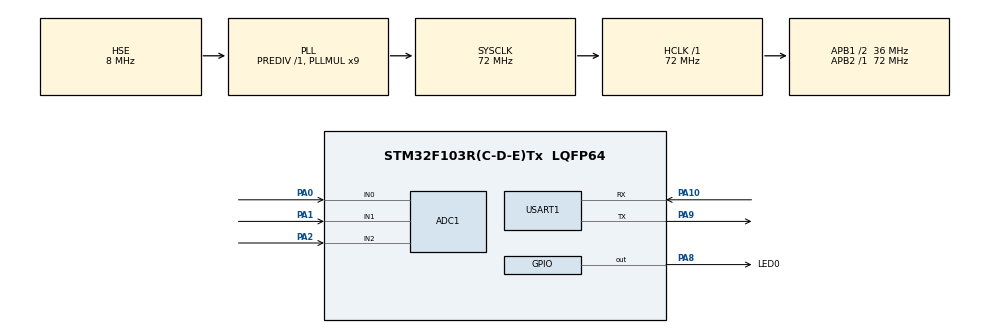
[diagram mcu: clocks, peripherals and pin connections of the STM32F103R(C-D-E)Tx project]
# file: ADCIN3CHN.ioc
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ADC1.Channel-0\#ChannelRegularConversion=ADC_CHANNEL_0
ADC1.Channel-5\#ChannelRegularConversion=ADC_CHANNEL_1
ADC1.Channel-6\#ChannelRegularConversion=ADC_CHANNEL_2
ADC1.ContinuousConvMode=DISABLE
ADC1.DiscontinuousConvMode=DISABLE
ADC1.ExternalTrigConv=ADC_EXTERNALTRIGCONV_T3_TRGO
ADC1.NbrOfConversion=3
ADC1.NbrOfConversionFlag=1
ADC1.Rank-0\#ChannelRegularConversion=1
ADC1.Rank-5\#ChannelRegularConversion=2
ADC1.Rank-6\#ChannelRegularConversion=3
ADC1.SamplingTime-0\#ChannelRegularConversion=ADC_SAMPLETIME_1CYCLE_5
ADC1.SamplingTime-5\#ChannelRegularConversion=ADC_SAMPLETIME_1CYCLE_5
ADC1.SamplingTime-6\#ChannelRegularConversion=ADC_SAMPLETIME_1CYCLE_5
ADC1.master=1
Dma.ADC1.0.Direction=DMA_PERIPH_TO_MEMORY
Dma.ADC1.0.Instance=DMA1_Channel1
Dma.ADC1.0.MemDataAlignment=DMA_MDATAALIGN_WORD
Dma.ADC1.0.MemInc=DMA_MINC_ENABLE
Dma.ADC1.0.Mode=DMA_CIRCULAR
Dma.ADC1.0.PeriphDataAlignment=DMA_PDATAALIGN_WORD
Dma.ADC1.0.PeriphInc=DMA_PINC_DISABLE
Dma.ADC1.0.Priority=DMA_PRIORITY_HIGH
Dma.Request0=ADC1
FREERTOS.Tasks01=defaultTask,0,128,StartDefaultTask,Default,NULL,Dynamic,NULL,NULL;myTask02,-3,128,StartTask02,Default,NULL,Dynamic,NULL,NULL
Mcu.Family=STM32F1
Mcu.Name=STM32F103R(C-D-E)Tx
Mcu.Package=LQFP64
NVIC.ADC1_2_IRQn=true\:5\:0\:false\:false\:true\:true\:true\:true
NVIC.DMA1_Channel1_IRQn=true\:5\:0\:false\:false\:true\:true\:false\:true
NVIC.PriorityGroup=NVIC_PRIORITYGROUP_4
NVIC.RTC_IRQn=true\:5\:0\:false\:false\:true\:true\:true\:true
NVIC.TIM3_IRQn=true\:5\:0\:false\:false\:true\:true\:true\:true
NVIC.TIM7_IRQn=true\:0\:0\:false\:false\:true\:false\:false\:true
NVIC.TimeBase=TIM7_IRQn
NVIC.TimeBaseIP=TIM7
NVIC.USART1_IRQn=true\:5\:0\:false\:false\:true\:true\:true\:true
PA0-WKUP.Signal=ADCx_IN0
PA1.Signal=ADCx_IN1
PA10.Mode=Asynchronous
PA10.Signal=USART1_RX
PA13.Mode=Serial_Wire
PA13.Signal=SYS_JTMS-SWDIO
PA14.Mode=Serial_Wire
PA14.Signal=SYS_JTCK-SWCLK
PA2.Signal=ADCx_IN2
PA8.GPIO_Label=LED0
PA8.GPIO_Speed=GPIO_SPEED_FREQ_HIGH
PA8.PinState=GPIO_PIN_SET
PA8.Signal=GPIO_Output
PA9.Mode=Asynchronous
PA9.Signal=USART1_TX
PC14-OSC32_IN.Mode=LSE-External-Oscillator
PC14-OSC32_IN.Signal=RCC_OSC32_IN
PC15-OSC32_OUT.Mode=LSE-External-Oscillator
PC15-OSC32_OUT.Signal=RCC_OSC32_OUT
PD0-OSC_IN.Mode=HSE-External-Oscillator
PD0-OSC_IN.Signal=RCC_OSC_IN
PD1-OSC_OUT.Mode=HSE-External-Oscillator
PD1-OSC_OUT.Signal=RCC_OSC_OUT
ProjectManager.HeapSize=0x200
ProjectManager.StackSize=0x400
ProjectManager.TargetToolchain=MDK-ARM V5.27
RCC.ADCPresc=RCC_ADCPCLK2_DIV6
RCC.AHBFreq_Value=72000000
RCC.APB1CLKDivider=RCC_HCLK_DIV2
RCC.APB1Freq_Value=36000000
RCC.APB1TimFreq_Value=72000000
RCC.APB2Freq_Value=72000000
RCC.APB2TimFreq_Value=72000000
RCC.HCLKFreq_Value=72000000
RCC.PLLMUL=RCC_PLL_MUL9
RCC.PLLSourceVirtual=RCC_PLLSOURCE_HSE
RCC.RTCClockSelection=RCC_RTCCLKSOURCE_LSE
RCC.SYSCLKFreq_VALUE=72000000
RCC.SYSCLKSource=RCC_SYSCLKSOURCE_PLLCLK
RCC.USBFreq_Value=72000000
RTC.Date=25
RTC.Hours=18
RTC.Minutes=15
RTC.Month=RTC_MONTH_NOVEMBER
RTC.WeekDay=RTC_WEEKDAY_THURSDAY
RTC.Year=20
SH.ADCx_IN0.0=ADC1_IN0,IN0
SH.ADCx_IN1.0=ADC1_IN1,IN1
SH.ADCx_IN2.0=ADC1_IN2,IN2
TIM3.Period=99
TIM3.Prescaler=7199
TIM3.TIM_MasterOutputTrigger=TIM_TRGO_UPDATE
USART1.VirtualMode=VM_ASYNC
VP_FREERTOS_VS_CMSIS_V1.Mode=CMSIS_V1
VP_RTC_No_RTC_Output.Mode=RTC_OUT_NO
VP_RTC_VS_RTC_Activate.Mode=RTC_Enabled
VP_RTC_VS_RTC_Calendar.Mode=RTC_Calendar
VP_SYS_VS_tim7.Mode=TIM7
VP_TIM3_VS_ClockSourceINT.Mode=Internal
board=custom

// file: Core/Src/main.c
/* USER CODE BEGIN Header */
/**
  ******************************************************************************
  * @file           : main.c
  * @brief          : Main program body
  ******************************************************************************
  * @attention
  *
  * <h2><center>&copy; Copyright (c) 2021 STMicroelectronics.
  * All rights reserved.</center></h2>
  *
  * This software component is licensed by ST under BSD 3-Clause license,
  * the "License"; You may not use this file except in compliance with the
  * License. You may obtain a copy of the License at:
  *                        opensource.org/licenses/BSD-3-Clause
  *
  ******************************************************************************
  */
/* USER CODE END Header */
#include "main.h"
#include "cmsis_os.h"
#include "adc.h"
#include "dma.h"
#include "rtc.h"
#include "tim.h"
#include "usart.h"
#include "gpio.h"

/* USER CODE BEGIN Includes */
#include "stdio.h"
/* USER CODE END Includes */

/* USER CODE BEGIN PTD */
uint16_t One_flage=0;
/* USER CODE END PTD */

void SystemClock_Config(void);
void MX_FREERTOS_Init(void);

int main(void)
{

  /* MCU Configuration--------------------------------------------------------*/

  /* Reset of all peripherals, Initializes the Flash interface and the Systick. */
  HAL_Init();

  /* Configure the system clock */
  SystemClock_Config();

  /* Initialize all configured peripherals */
  MX_GPIO_Init();
  MX_DMA_Init();
  MX_ADC1_Init();
  MX_USART1_UART_Init();
  MX_RTC_Init();
  MX_TIM3_Init();
  /* USER CODE BEGIN 2 */

    HAL_TIM_Base_Start_IT(&htim3); //�?启定时器2中断
    RIN_Led0_start_cheack();       //系统启动灯光
    printf("system online\n");     //串口�?�?
    HAL_Delay(200);
    RIN_AdcStarUp();
  /* USER CODE END 2 */

  /* Call init function for freertos objects (in freertos.c) */
  MX_FREERTOS_Init();
  /* Start scheduler */
  osKernelStart();

  /* We should never get here as control is now taken by the scheduler */
  /* Infinite loop */
  /* USER CODE BEGIN WHILE */
    while (1)
    {
        //RIN_adc_get();
        RIN_get_systime();
    /* USER CODE END WHILE */

    }
}

void SystemClock_Config(void)
{
  RCC_OscInitTypeDef RCC_OscInitStruct = {0};
  RCC_ClkInitTypeDef RCC_ClkInitStruct = {0};
  RCC_PeriphCLKInitTypeDef PeriphClkInit = {0};

  /** Initializes the RCC Oscillators according to the specified parameters
  * in the RCC_OscInitTypeDef structure.
  */
  RCC_OscInitStruct.OscillatorType = RCC_OSCILLATORTYPE_HSE|RCC_OSCILLATORTYPE_LSE;
  RCC_OscInitStruct.HSEState = RCC_HSE_ON;
  RCC_OscInitStruct.HSEPredivValue = RCC_HSE_PREDIV_DIV1;
  RCC_OscInitStruct.LSEState = RCC_LSE_ON;
  RCC_OscInitStruct.HSIState = RCC_HSI_ON;
  RCC_OscInitStruct.PLL.PLLState = RCC_PLL_ON;
  RCC_OscInitStruct.PLL.PLLSource = RCC_PLLSOURCE_HSE;
  RCC_OscInitStruct.PLL.PLLMUL = RCC_PLL_MUL9;
  if (HAL_RCC_OscConfig(&RCC_OscInitStruct) != HAL_OK)
  {
    Error_Handler();
  }
  /** Initializes the CPU, AHB and APB buses clocks
  */
  RCC_ClkInitStruct.ClockType = RCC_CLOCKTYPE_HCLK|RCC_CLOCKTYPE_SYSCLK
                              |RCC_CLOCKTYPE_PCLK1|RCC_CLOCKTYPE_PCLK2;
  RCC_ClkInitStruct.SYSCLKSource = RCC_SYSCLKSOURCE_PLLCLK;
  RCC_ClkInitStruct.AHBCLKDivider = RCC_SYSCLK_DIV1;
  RCC_ClkInitStruct.APB1CLKDivider = RCC_HCLK_DIV2;
  RCC_ClkInitStruct.APB2CLKDivider = RCC_HCLK_DIV1;

  if (HAL_RCC_ClockConfig(&RCC_ClkInitStruct, FLASH_LATENCY_2) != HAL_OK)
  {
    Error_Handler();
  }
  PeriphClkInit.PeriphClockSelection = RCC_PERIPHCLK_RTC|RCC_PERIPHCLK_ADC;
  PeriphClkInit.RTCClockSelection = RCC_RTCCLKSOURCE_LSE;
  PeriphClkInit.AdcClockSelection = RCC_ADCPCLK2_DIV6;
  if (HAL_RCCEx_PeriphCLKConfig(&PeriphClkInit) != HAL_OK)
  {
    Error_Handler();
  }
}

 /**
  * @brief  Period elapsed callback in non blocking mode
  * @note   This function is called  when TIM7 interrupt took place, inside
  * HAL_TIM_IRQHandler(). It makes a direct call to HAL_IncTick() to increment
  * a global variable "uwTick" used as application time base.
  * @param  htim : TIM handle
  * @retval None
  */
void HAL_TIM_PeriodElapsedCallback(TIM_HandleTypeDef *htim)
{
  if (htim->Instance == TIM7) {
    HAL_IncTick();
  }

  /* USER CODE BEGIN Callback 1 */
 if (htim == &htim3)
    {

        OneCheak++;
    }
  /* USER CODE END Callback 1 */
}

void Error_Handler(void)
{
    __disable_irq();
    while (1)
    {
    }
}

/************************ (C) COPYRIGHT STMicroelectronics *****END OF FILE****/

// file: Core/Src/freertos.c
/* USER CODE BEGIN Header */
/**
  ******************************************************************************
  * File Name          : freertos.c
  * Description        : Code for freertos applications
  ******************************************************************************
  * @attention
  *
  * <h2><center>&copy; Copyright (c) 2021 STMicroelectronics.
  * All rights reserved.</center></h2>
  *
  * This software component is licensed by ST under Ultimate Liberty license
  * SLA0044, the "License"; You may not use this file except in compliance with
  * the License. You may obtain a copy of the License at:
  *                             www.st.com/SLA0044
  *
  ******************************************************************************
  */
/* USER CODE END Header */

#include "FreeRTOS.h"
#include "task.h"
#include "main.h"
#include "cmsis_os.h"

/* USER CODE BEGIN Includes */
#include "adc.h"
/* USER CODE END Includes */

osThreadId defaultTaskHandle;
osThreadId myTask02Handle;

void StartDefaultTask(void const *argument);
void StartTask02(void const *argument);

void MX_FREERTOS_Init(void); /* (MISRA C 2004 rule 8.1) */

/* GetIdleTaskMemory prototype (linked to static allocation support) */
void vApplicationGetIdleTaskMemory(StaticTask_t **ppxIdleTaskTCBBuffer, StackType_t **ppxIdleTaskStackBuffer, uint32_t *pulIdleTaskStackSize);

/* USER CODE BEGIN GET_IDLE_TASK_MEMORY */
static StaticTask_t xIdleTaskTCBBuffer;
static StackType_t xIdleStack[configMINIMAL_STACK_SIZE];

void vApplicationGetIdleTaskMemory(StaticTask_t **ppxIdleTaskTCBBuffer, StackType_t **ppxIdleTaskStackBuffer, uint32_t *pulIdleTaskStackSize)
{
    *ppxIdleTaskTCBBuffer = &xIdleTaskTCBBuffer;
    *ppxIdleTaskStackBuffer = &xIdleStack[0];
    *pulIdleTaskStackSize = configMINIMAL_STACK_SIZE;
    /* place for user code */
}
/* USER CODE END GET_IDLE_TASK_MEMORY */

void MX_FREERTOS_Init(void)
{

    /* Create the thread(s) */
    /* definition and creation of defaultTask */
    osThreadDef(defaultTask, StartDefaultTask, osPriorityNormal, 0, 128);
    defaultTaskHandle = osThreadCreate(osThread(defaultTask), NULL);

    /* definition and creation of myTask02 */
    osThreadDef(myTask02, StartTask02, osPriorityIdle, 0, 128);
    myTask02Handle = osThreadCreate(osThread(myTask02), NULL);

}

void StartDefaultTask(void const *argument)
{
    for (;;)
    {
        osDelay(1);
    }
}

void StartTask02(void const *argument)
{
    /* USER CODE BEGIN StartTask02 */
    /* Infinite loop */
    for (;;)
    {
      while(OneCheak==100)
        {
          OneCheak=0;
        RIN_get_systime();
        // printf("%02d/%02d/%02d\r\n", Year, Month, Day);
        // printf("%02d:%02d:%02d\r\n", Hour, Minute, Second);
        printf("%02d/%02d/%02d\r\n", 2000 + GetData.Year, GetData.Month, GetData.Date);
        /* Display time Format : hh:mm:ss */
        printf("%02d:%02d:%02d\r\n", GetTime.Hours, GetTime.Minutes, GetTime.Seconds);
        /* Display date Format : yy/mm/dd */
        printf("--------------Sampling is completed 100 times-------------\n");
        printf("AdcValue1=%0.2fV----AdcValue2=%0.2fV----AdcValue3=%0.2fV\r\n", (buf[0] * 825) / 1024.0 / 1000.0, (buf[1] * 825) / 1024.0 / 1000.0, (buf[2] * 825) / 1024.0 / 1000.0);

        }
    }
    /* USER CODE END StartTask02 */
}

/************************ (C) COPYRIGHT STMicroelectronics *****END OF FILE****/
